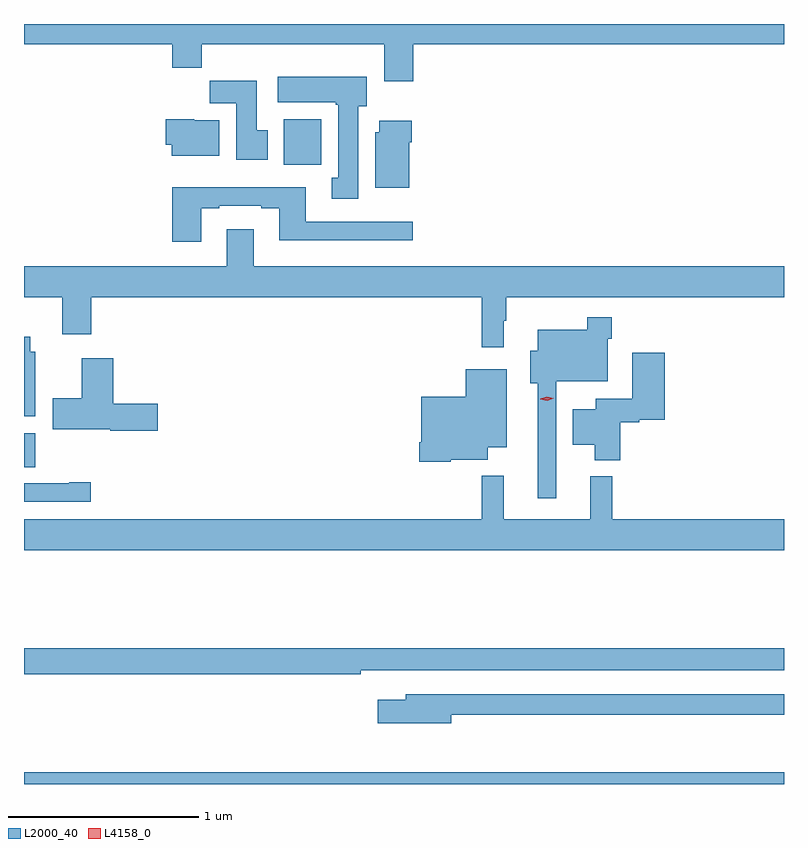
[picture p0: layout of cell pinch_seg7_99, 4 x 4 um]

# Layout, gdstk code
import gdstk
lib = gdstk.Library(unit=1e-6, precision=1e-09)
def R(c, l, rs):  # rectangles x0, y0, x1, y1
    for r in rs: c.add(gdstk.rectangle(r[:2], r[2:], *l))
def P(c, l, *ps):  # polygons
    for p in ps: c.add(gdstk.Polygon(p, *l))
L2000_40 = (2000, 40)
L4158_0 = (4158, 0)

pinch_seg7_99 = lib.new_cell('pinch_seg7_99')
R(pinch_seg7_99, L2000_40, [(938.699,1026.026,942.699,1026.088), (938.699,1027.693,938.759,1027.872), (940.067,1029.284,940.264,1029.526)])
P(pinch_seg7_99, L2000_40, [(940.748,1029.92),(942.699,1029.92),(942.699,1030.026),(938.699,1030.026),(938.699,1029.92),(939.479,1029.92),(939.479,1029.796),(939.635,1029.796),(939.635,1029.92),(940.595,1029.92),(940.595,1029.726),(940.748,1029.726)],
  [(940.459,1029.594),(940.504,1029.594),(940.504,1029.748),(940.035,1029.748),(940.035,1029.614),(940.339,1029.614),(940.339,1029.601),(940.352,1029.601),(940.352,1029.218),(940.319,1029.218),(940.319,1029.105),(940.459,1029.105)],
  [(939.982,1029.468),(939.925,1029.468),(939.925,1029.727),(939.676,1029.727),(939.676,1029.608),(939.815,1029.608),(939.815,1029.312),(939.982,1029.312)],
  [(939.727,1029.52),(939.594,1029.52),(939.594,1029.526),(939.446,1029.526),(939.446,1029.39),(939.476,1029.39),(939.476,1029.332),(939.727,1029.332)],
  [(940.726,1029.404),(940.739,1029.404),(940.739,1029.517),(940.568,1029.517),(940.568,1029.456),(940.547,1029.456),(940.547,1029.164),(940.726,1029.164)],
  [(939.631,1029.057),(939.727,1029.057),(939.727,1029.069),(939.947,1029.069),(939.947,1029.057),(940.043,1029.057),(940.043,1028.888),(940.744,1028.888),(940.744,1028.985),(940.183,1028.985),(940.183,1029.166),(939.479,1029.166),(939.479,1028.88),(939.631,1028.88)],
  [(941.224,1028.465),(941.236,1028.465),(941.236,1028.588),(942.699,1028.588),(942.699,1028.752),(939.907,1028.752),(939.907,1028.947),(939.767,1028.947),(939.767,1028.752),(938.699,1028.752),(938.699,1028.588),(938.9,1028.588),(938.9,1028.394),(939.053,1028.394),(939.053,1028.588),(941.107,1028.588),(941.107,1028.325),(941.224,1028.325)],
  [(941.499,1028.147),(941.772,1028.147),(941.772,1028.369),(941.792,1028.369),(941.792,1028.482),(941.664,1028.482),(941.664,1028.416),(941.402,1028.416),(941.402,1028.305),(941.363,1028.305),(941.363,1028.135),(941.402,1028.135),(941.402,1027.53),(941.499,1027.53)],
  [(938.758,1028.301),(938.731,1028.301),(938.731,1028.38),(938.699,1028.38),(938.699,1027.961),(938.758,1027.961)],
  [(941.837,1027.93),(941.937,1027.93),(941.937,1027.943),(942.071,1027.943),(942.071,1028.296),(941.9,1028.296),(941.9,1028.053),(941.708,1028.053),(941.708,1027.999),(941.588,1027.999),(941.588,1027.811),(941.702,1027.811),(941.702,1027.73),(941.837,1027.73)],
  [(939.403,1028.027),(939.17,1028.027),(939.17,1028.266),(939.002,1028.266),(939.002,1028.055),(938.85,1028.055),(938.85,1027.892),(939.153,1027.892),(939.153,1027.885),(939.403,1027.885)],
  [(940.944,1027.733),(941.14,1027.733),(941.14,1027.799),(941.239,1027.799),(941.239,1028.209),(941.024,1028.209),(941.024,1028.065),(940.79,1028.065),(940.79,1027.825),(940.778,1027.825),(940.778,1027.721),(940.944,1027.721)],
  [(942.699,1027.42),(941.795,1027.42),(941.795,1027.645),(941.678,1027.645),(941.678,1027.42),(941.225,1027.42),(941.225,1027.648),(941.107,1027.648),(941.107,1027.42),(938.699,1027.42),(938.699,1027.256),(942.699,1027.256)],
  [(939.049,1027.613),(938.936,1027.613),(938.936,1027.608),(938.699,1027.608),(938.699,1027.512),(939.049,1027.512)],
  [(940.472,1026.624),(942.699,1026.624),(942.699,1026.74),(938.699,1026.74),(938.699,1026.604),(940.472,1026.604)],
  [(940.948,1026.39),(942.699,1026.39),(942.699,1026.498),(940.709,1026.498),(940.709,1026.469),(940.56,1026.469),(940.56,1026.347),(940.948,1026.347)])
P(pinch_seg7_99, L4158_0, [(941.452,1028.044),(941.416,1028.052),(941.416,1028.053),(941.416,1028.053),(941.451,1028.064),(941.487,1028.056),(941.487,1028.055),(941.487,1028.055)])

lib.write_gds('pinch_seg7_99.gds')
